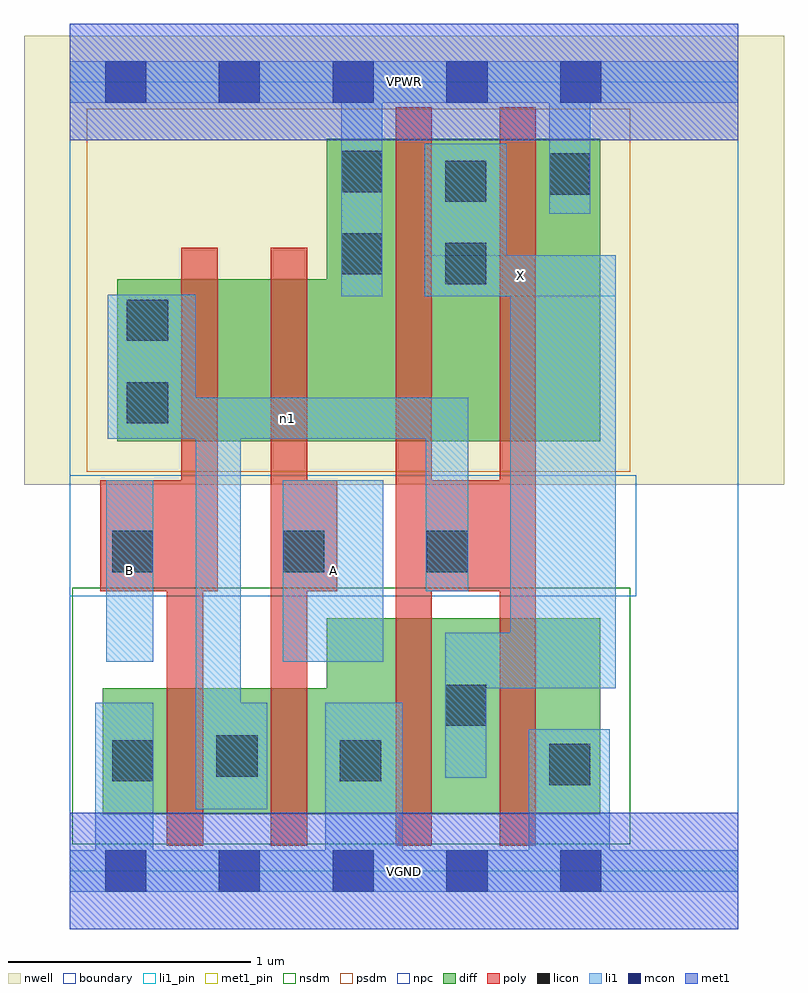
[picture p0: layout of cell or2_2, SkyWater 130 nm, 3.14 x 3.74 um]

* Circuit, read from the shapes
.subckt or2_2 A B VGND VPWR X n1
XM1 n1 B VGND VSUBS sky130_fd_pr__nfet_01v8 w=0.52 l=0.15
XM2 VGND A n1 VSUBS sky130_fd_pr__nfet_01v8 w=0.52 l=0.15
XM3 X n1 VGND VSUBS sky130_fd_pr__nfet_01v8 w=0.81 l=0.15 m=2
XM4 n2 B n1 n3 sky130_fd_pr__pfet_01v8 w=0.67 l=0.15
XM5 VPWR A n2 n3 sky130_fd_pr__pfet_01v8 w=0.67 l=0.15
XM6 X n1 VPWR n3 sky130_fd_pr__pfet_01v8 w=1.25 l=0.15 m=2
.ends

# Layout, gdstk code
import gdstk
lib = gdstk.Library(unit=1e-6, precision=1e-09)
def R(c, l, rs):  # rectangles x0, y0, x1, y1
    for r in rs: c.add(gdstk.rectangle(r[:2], r[2:], *l))
def A(c, l, x, y, w, h, nx, ny, dx, dy):  # array of equal rectangles
    R(c, l, [(x+i*dx, y+j*dy, x+i*dx+w, y+j*dy+h) for i in range(nx) for j in range(ny)])
nwell = (64, 20)
diff = (65, 20)
poly = (66, 20)
licon = (66, 44)
li1_pin = (67, 16)
li1 = (67, 20)
mcon = (67, 44)
met1_pin = (68, 16)
met1 = (68, 20)
nsdm = (93, 44)
psdm = (94, 20)
npc = (95, 20)
boundary = (235, 4)

or2_2 = lib.new_cell('or2_2')
R(or2_2, nwell, [(-0.19,1.595,2.95,3.45), (0,1.595,2.76,3.45)])
R(or2_2, diff, [(0.135,0.235,2.19,0.755), (1.06,0.235,2.19,1.045), (0.195,1.775,2.19,2.445), (1.06,1.775,2.19,3.025)])
R(or2_2, poly, [(0.4,0.105,0.55,1.615), (0.83,0.105,0.98,2.575), (1.345,0.105,1.495,3.155), (1.775,0.105,1.925,3.155), (0.125,1.155,0.61,1.615), (0.46,1.155,0.61,2.575), (0.83,1.155,1.105,1.615), (1.345,1.155,1.925,1.615)])
R(or2_2, licon, [(1.98,0.355,2.15,0.525), (0.175,0.37,0.345,0.54), (1.115,0.37,1.285,0.54), (0.605,0.39,0.775,0.56), (1.55,0.6,1.72,0.77), (0.175,1.235,0.345,1.405), (0.88,1.235,1.05,1.405), (1.475,1.235,1.645,1.405), (0.235,1.85,0.405,2.02), (0.235,2.19,0.405,2.36), (1.55,2.425,1.72,2.595), (1.12,2.465,1.29,2.635), (1.55,2.765,1.72,2.935), (1.98,2.795,2.15,2.965), (1.12,2.805,1.29,2.975)])
R(or2_2, li1_pin, [(0.15,0.865,0.345,1.615), (0.88,0.865,1.295,1.615), (1.465,2.375,2.255,2.545)])
R(or2_2, li1, [(0,-0.085,2.76,0.085), (0.105,-0.085,0.345,0.695), (1.055,-0.085,1.375,0.695), (1.895,-0.085,2.23,0.585), (0.52,0.255,0.705,1.955), (0.52,0.255,0.815,0.695), (1.55,0.385,1.72,0.985), (1.55,0.755,2.255,0.985), (1.82,0.755,2.255,2.545), (0.15,0.865,0.345,1.615), (0.88,0.865,1.295,1.615), (1.47,1.155,1.645,1.955), (0.155,1.785,1.645,1.955), (0.155,1.785,0.52,2.38), (1.12,2.375,1.29,3.345), (1.465,2.375,1.805,3.005), (1.465,2.375,2.255,2.545), (1.98,2.715,2.15,3.345), (0,3.175,2.76,3.345)])
A(or2_2, mcon, 0.145, -0.085, 0.17, 0.17, 5, 2, 0.47, 3.26)
R(or2_2, met1_pin, [(0,-0.24,2.76,0.24), (0,3.02,2.76,3.5)])
R(or2_2, met1, [(0,-0.24,2.76,0.24), (0,3.02,2.76,3.5)])
R(or2_2, nsdm, [(0.01,0.11,2.315,1.17)])
R(or2_2, psdm, [(0.07,1.65,2.315,3.15)])
R(or2_2, npc, [(0,1.135,2.34,1.635)])
R(or2_2, boundary, [(0,0,2.76,3.26)])
or2_2.add(gdstk.Label('A', (1.087,1.24), layer=67, texttype=5))
or2_2.add(gdstk.Label('B', (0.247,1.24), layer=67, texttype=5))
or2_2.add(gdstk.Label('X', (1.86,2.46), layer=67, texttype=5))
or2_2.add(gdstk.Label('n1', (0.9,1.87), layer=67, texttype=5))
or2_2.add(gdstk.Label('VPWR', (1.38,3.26), layer=68, texttype=5))
or2_2.add(gdstk.Label('VGND', (1.38,0), layer=68, texttype=5))
or2_2.add(gdstk.Label('A', (1.087,1.24), layer=67, texttype=16))
or2_2.add(gdstk.Label('B', (0.247,1.24), layer=67, texttype=16))
or2_2.add(gdstk.Label('X', (1.86,2.46), layer=67, texttype=16))
or2_2.add(gdstk.Label('VPWR', (1.38,3.26), layer=68, texttype=16))
or2_2.add(gdstk.Label('VGND', (1.38,0), layer=68, texttype=16))

lib.write_gds('or2_2.gds')
